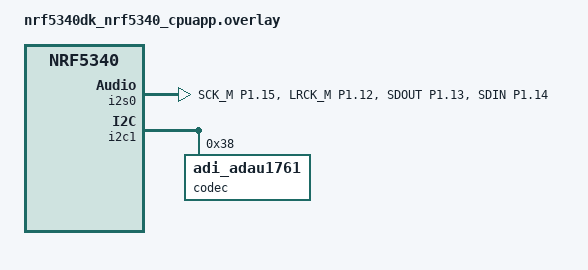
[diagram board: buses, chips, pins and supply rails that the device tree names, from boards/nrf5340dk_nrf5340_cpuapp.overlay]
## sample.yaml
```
sample:
  name: Codec sample
tests:
  sample.drivers.audio.codec:
    tags: codec
    filter: dt_nodelabel_enabled("dmic_dev")
    integration_platforms:
      - nrf5340dk/nrf5340/cpuapp
    harness: console
    harness_config:
      type: multi_line
      ordered: true
      regex:
        - "Codec sample"
        - "Exiting"
```

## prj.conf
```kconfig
CONFIG_AUDIO=y
CONFIG_AUDIO_CODEC=y
CONFIG_AUDIO_CODEC_SHELL=y
CONFIG_AUDIO_ADAU1x61=y

CONFIG_I2C=y
CONFIG_I2C_SHELL=y
CONFIG_I2S=y
CONFIG_SHELL=y

CONFIG_LOG_BUFFER_SIZE=32768

CONFIG_LOG=y
CONFIG_ADAU1X61_LOG_LEVEL_DBG=y
```

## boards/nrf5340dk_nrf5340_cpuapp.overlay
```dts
/*
 * Copyright (c) 2021 Nordic Semiconductor ASA
 *
 * SPDX-License-Identifier: Apache-2.0
 */

&clock {
	hfclkaudio-frequency = <12288000>;
};

&pinctrl {
	i2s0_default: i2s0_default {
		group1 {
			psels = <NRF_PSEL(I2S_SCK_M, 1, 15)>,
				<NRF_PSEL(I2S_LRCK_M, 1, 12)>,
				<NRF_PSEL(I2S_SDOUT, 1, 13)>,
				<NRF_PSEL(I2S_SDIN, 1, 14)>;
		};
	};
};

i2s_rxtx: &i2s0 {
	status = "okay";
	pinctrl-0 = <&i2s0_default>;
	pinctrl-names = "default";
	clock-source = "ACLK";
};

&i2c1 {
	status = "okay";
	codec: adau@38 {
        compatible = "adi_adau1761";
        reg = <0x38>;
      };
};

&spi4 {
	status = "disabled";
};

&arduino_header {
	status = "disabled";
};

&gpio1 {
	status = "disabled";
};
```

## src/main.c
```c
/*
 * Copyright 2023 NXP
 *
 * SPDX-License-Identifier: Apache-2.0
 */

#include <stdio.h>
#include <zephyr/kernel.h>
#include <zephyr/drivers/i2s.h>
#include <zephyr/audio/codec.h>
#include <zephyr/sys/iterable_sections.h>
#include <zephyr/logging/log_ctrl.h>

#define SAMPLE_FREQUENCY    48000
#define SAMPLE_BIT_WIDTH    32
#define BYTES_PER_SAMPLE    sizeof(int32_t)
#define NUMBER_OF_CHANNELS  2
/* Such block length provides an echo with the delay of 100 ms. */
#define SAMPLES_PER_BLOCK   ((SAMPLE_FREQUENCY / 10) * NUMBER_OF_CHANNELS)
#define INITIAL_BLOCKS      2
#define TIMEOUT             1000

#define BLOCK_SIZE  (BYTES_PER_SAMPLE * SAMPLES_PER_BLOCK)
#define BLOCK_COUNT (INITIAL_BLOCKS + 2)
K_MEM_SLAB_DEFINE_STATIC(mem_slab, BLOCK_SIZE, BLOCK_COUNT, 4);

static K_SEM_DEFINE(toggle_transfer, 1, 1);

int main(void)
{
	struct i2s_config i2s_cfg;
	struct audio_codec_cfg codec_cfg;
	int ret;
	const struct device *dev_i2s = DEVICE_DT_GET(DT_NODELABEL(i2s_rxtx));
	const struct device *dev_codec = DEVICE_DT_GET(DT_NODELABEL(codec));
	audio_property_value_t prop_val;

	if (!device_is_ready(dev_i2s)) {
		printf("I2S device not ready\n");
		return -ENODEV;
	}

	if (!device_is_ready(dev_codec)) {
		printf("Audio codec device not ready\n");
		return -ENODEV;
	}

	/* Configure I2S stream */
	i2s_cfg.word_size = SAMPLE_BIT_WIDTH;
	i2s_cfg.channels = NUMBER_OF_CHANNELS;
	i2s_cfg.format = I2S_FMT_DATA_FORMAT_I2S;
	i2s_cfg.frame_clk_freq = SAMPLE_FREQUENCY;
	i2s_cfg.block_size = BLOCK_SIZE;
	i2s_cfg.timeout = TIMEOUT;
	/* Configure the Transmit port as Master */
	i2s_cfg.options = I2S_OPT_FRAME_CLK_MASTER
			| I2S_OPT_BIT_CLK_MASTER;
	i2s_cfg.mem_slab = &mem_slab;
	ret = i2s_configure(dev_i2s, I2S_DIR_BOTH, &i2s_cfg);
	if (ret < 0) {
		printf("Failed to configure I2S stream\n");
		return ret;
	}

	/* Configure Audio codec */
	codec_cfg.dai_cfg.i2s = i2s_cfg;
	codec_cfg.dai_type = AUDIO_DAI_TYPE_I2S;
	codec_cfg.mclk_freq = 12288000;
	ret = audio_codec_configure(dev_codec, &codec_cfg);
	if (ret < 0) {
		printf("Failed to configure codec\n");
		return ret;
	}

	audio_codec_start_output(dev_codec);
	audio_codec_start_input(dev_codec);
	prop_val.vol = 7;
	audio_codec_set_property(dev_codec, AUDIO_PROPERTY_OUTPUT_VOLUME, AUDIO_CHANNEL_HEADPHONE_LEFT, prop_val);
	audio_codec_set_property(dev_codec, AUDIO_PROPERTY_OUTPUT_VOLUME, AUDIO_CHANNEL_HEADPHONE_RIGHT, prop_val);
	audio_codec_set_property(dev_codec, AUDIO_PROPERTY_OUTPUT_VOLUME, AUDIO_CHANNEL_LINE_LEFT, prop_val);
	audio_codec_set_property(dev_codec, AUDIO_PROPERTY_OUTPUT_VOLUME, AUDIO_CHANNEL_LINE_RIGHT, prop_val);
	prop_val.mute = 0;
	audio_codec_set_property(dev_codec, AUDIO_PROPERTY_OUTPUT_MUTE, AUDIO_CHANNEL_HEADPHONE_LEFT, prop_val);
	audio_codec_set_property(dev_codec, AUDIO_PROPERTY_OUTPUT_MUTE, AUDIO_CHANNEL_HEADPHONE_RIGHT, prop_val);
	audio_codec_set_property(dev_codec, AUDIO_PROPERTY_OUTPUT_MUTE, AUDIO_CHANNEL_LINE_LEFT, prop_val);
	audio_codec_set_property(dev_codec, AUDIO_PROPERTY_OUTPUT_MUTE, AUDIO_CHANNEL_LINE_RIGHT, prop_val);

	for (int i = 0; i < INITIAL_BLOCKS; ++i) {
		void *mem_block;

		ret = k_mem_slab_alloc(&mem_slab, &mem_block, K_NO_WAIT);
		if (ret < 0) {
			printk("Failed to allocate TX block %d: %d\n", i, ret);
			return false;
		}

		memset(mem_block, 0, BLOCK_SIZE);

		ret = i2s_write(dev_i2s, mem_block, BLOCK_SIZE);
		if (ret < 0) {
			printk("Failed to write block %d: %d\n", i, ret);
			return false;
		}
	}

	for (;;) {
		k_sem_take(&toggle_transfer, K_FOREVER);

		/* Trigger the I2S transmission */
		ret = i2s_trigger(dev_i2s, I2S_DIR_BOTH, I2S_TRIGGER_START);
		if (ret < 0) {
			printf("Could not trigger I2S tx\n");
			return ret;
		}

		printk("Streams started\n");

		while (k_sem_take(&toggle_transfer, K_NO_WAIT) != 0) {
			void *mem_block;
			uint32_t block_size;
			int ret;

			ret = i2s_read(dev_i2s, &mem_block, &block_size);
			if (ret < 0) {
				printk("Failed to read data: %d\n", ret);
				break;
			}

			ret = i2s_write(dev_i2s, mem_block, block_size);
			if (ret < 0) {
				printk("Failed to write data: %d\n", ret);
				break;
			}
		}

		/* Trigger the I2S transmission */
		ret = i2s_trigger(dev_i2s, I2S_DIR_BOTH, I2S_TRIGGER_DROP);
		if (ret < 0) {
			printf("Could not trigger I2S tx\n");
			return ret;
		}

		printk("Streams stopped\n");
	}

	audio_codec_stop_output(dev_codec);

	return 0;
}
```

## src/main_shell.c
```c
/*
 * Copyright (c) 2024 Analog Devices Inc.
 *
 * SPDX-License-Identifier: Apache-2.0
 */

#include <stdio.h>

int main(void)
{
	printf("Codec shell sample");

	return 0;
}
```
